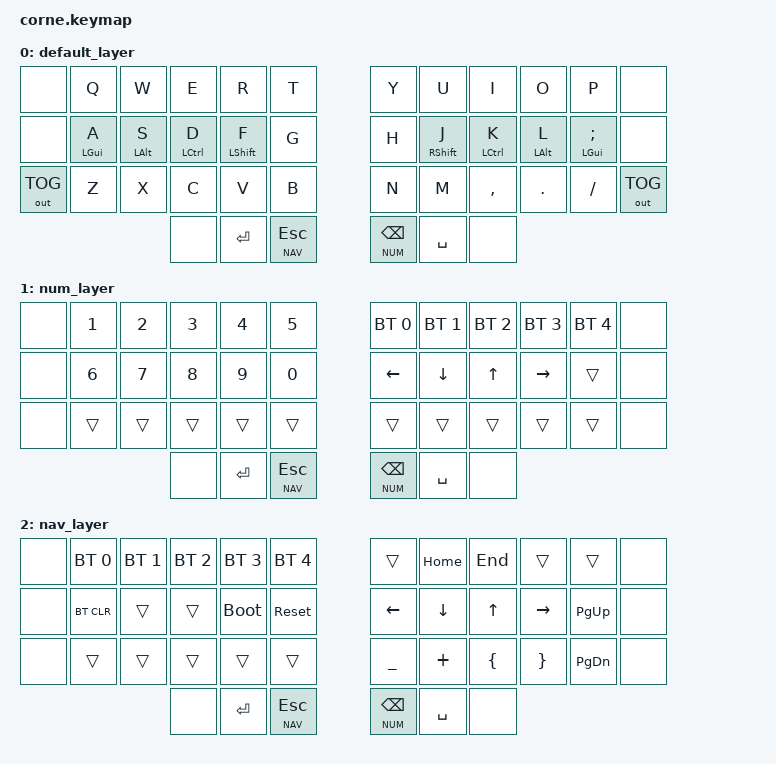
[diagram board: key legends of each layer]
/*
 * Copyright (c) 2020 The ZMK Contributors
 *
 * SPDX-License-Identifier: MIT
 */

#include <behaviors.dtsi>
#include <behaviors/num_word.dtsi> // Requires auto-layer module.
#include <dt-bindings/zmk/keys.h>
#include <dt-bindings/zmk/bt.h>
#include <dt-bindings/zmk/outputs.h>

#include "zmk-helpers/helper.h"
#include "zmk-helpers/key-labels/42.h"
#include "zmk-helpers/unicode-chars/german.dtsi"

#define QUICK_TAP_MS 175

#define DEF 0
#define NUM 1
#define NAV 2

/* Homerow mods */
#define KEYS_L LT0 LT1 LT2 LT3 LT4 LT5 LM0 LM1 LM2 LM3 LM4 LM5 LB0 LB1 LB2 LB3 LB4 LB5 // left hand
#define KEYS_R RT0 RT1 RT2 RT3 RT4 RT5 RM0 RM1 RM2 RM3 RM4 RM5 RB0 RB1 RB2 RB3 RB4 RB5 // right hand
#define THUMBS LH2 LH1 LH0 RH0 RH1 RH2						       // thumbs

#define MAKE_HRM(NAME, HOLD, TAP, TRIGGER_POS)                                 \
  ZMK_HOLD_TAP(NAME, bindings = <HOLD>, <TAP>; flavor = "balanced";            \
               tapping-term-ms = <280>; quick-tap-ms = <QUICK_TAP_MS>;         \
               require-prior-idle-ms = <150>; hold-trigger-on-release;         \
               hold-trigger-key-positions = <TRIGGER_POS>;)

MAKE_HRM(hml, &kp, &kp, KEYS_R THUMBS) // Left-hand HRMs.
MAKE_HRM(hmr, &kp, &kp, KEYS_L THUMBS) // Right-hand HRMs.

// Define mod-morph with a *single* mod trigger for less repetition.
#define SIMPLE_MORPH(NAME, MOD, BINDING1, BINDING2)                            \
  ZMK_MOD_MORPH(NAME, mods = <(MOD_L##MOD | MOD_R##MOD)>;                      \
                bindings = <BINDING1>, <BINDING2>;)

// Tap: num-word | double-tap: sticky num-layer | Hold: num-layer.
#define SMART_NUM &smart_num NUM 0
ZMK_HOLD_TAP(smart_num, bindings = <&mo>, <&num_dance>; flavor = "balanced";
             tapping-term-ms = <200>; quick-tap-ms = <QUICK_TAP_MS>;)

ZMK_TAP_DANCE(num_dance, bindings = <&num_word NUM>, <&sl NUM>;
              tapping-term-ms = <200>;)
	      
// Tap: left/right parenthesis | Shft + tap: less-than/greater-than.
SIMPLE_MORPH(lpar_lt, SFT, &kp LPAR, &kp LT)
SIMPLE_MORPH(rpar_gt, SFT, &kp RPAR, &kp GT)

// Tap: copy | double-tap: cut.
ZMK_TAP_DANCE(copy_cut, bindings = <&kp LC(INS)>, <&kp LC(X)>;
              tapping-term-ms = <200>;)

// Sticky shift + leader.
ZMK_MACRO(leader_sft, bindings = <&sk LSHFT &leader>;)

// Hack: Make HRM combos tap-only (cf, ZMK issue #544).
#define ZMK_COMBO_8(NAME, TAP, POS, LAYERS, COMBO_MS, IDLE_MS, HOLD, SIDE)     \
  MAKE_HRM(hm_combo_##NAME, &kp, TAP, SIDE THUMBS)                             \
  ZMK_COMBO_6(NAME, &hm_combo_##NAME HOLD 0, POS, LAYERS, COMBO_MS, IDLE_MS)

/* Combos, leader key sequences, mouse emulation */

#include "combos.dtsi" // Must be sourced after HRM-combo hack.
#include "leader.dtsi"

/ {
        keymap {
                compatible = "zmk,keymap";

                default_layer {
                        bindings = <
   &none     &kp Q         &kp W         &kp E        &kp R         &kp T         &kp Y         &kp U          &kp I         &kp O       &kp P          &none
   &none     &hml LGUI A   &hml LALT S   &hml LCTRL D &hml LSHIFT F &kp G         &kp H         &hmr RSHIFT J  &hmr LCTRL K  &hmr LALT L &hmr LGUI SEMI &none
   &out OUT_TOG     &kp Z         &kp X         &kp C        &kp V         &kp B         &kp N         &kp M          &kp COMMA     &kp DOT     &kp FSLH       &out OUT_TOG
                                         &none        &kp RET       &lt NAV ESC   &lt NUM BSPC  &kp SPACE      &none
                        >;
                };
                num_layer {
                        bindings = <
   &none      &kp N1       &kp N2       &kp N3       &kp N4        &kp N5        &bt BT_SEL 0  &bt BT_SEL 1  &bt BT_SEL 2 &bt BT_SEL 3 &bt BT_SEL 4    &none
   &none      &kp N6       &kp N7       &kp N8       &kp N9        &kp N0        &kp LEFT      &kp DOWN      &kp UP       &kp RIGHT    &trans          &none
   &none      &trans       &trans       &trans       &trans        &trans        &trans        &trans        &trans       &trans       &trans          &none
                                        &none        &kp RET       &lt NAV ESC   &lt NUM BSPC  &kp SPACE     &none
                        >;
                };

                nav_layer {
                        bindings = <
   &none    &bt BT_SEL 0 &bt BT_SEL 1 &bt BT_SEL 2 &bt BT_SEL 3 &bt BT_SEL 4     &trans        &kp HOME      &kp END      &trans      &trans       &none
   &none    &bt BT_CLR   &trans       &trans       &bootloader  &sys_reset       &kp LEFT      &kp DOWN      &kp UP       &kp RIGHT   &kp PG_UP    &none
   &none    &trans   &trans &trans   &trans   &trans                             &kp UNDER     &kp PLUS      &kp LBRC     &kp RBRC    &kp PG_DN  &none
                                        &none        &kp RET       &lt NAV ESC   &lt NUM BSPC  &kp SPACE     &none
                        >;
                };
        };
};
